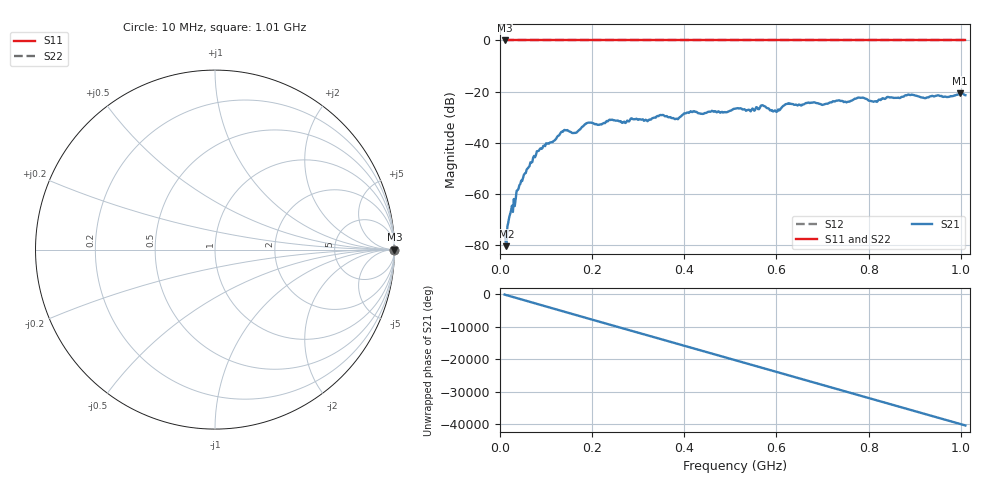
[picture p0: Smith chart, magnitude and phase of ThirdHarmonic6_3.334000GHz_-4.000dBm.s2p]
! 8/17/2025 10:28:45 AM
! C:\ANRITSUVNA\TEMP\TEMP.S2P
! CHANNEL.1
! TR.MEASUREMENT
! RAW.DATA
! RF.CORRECTION.OFF
! AVERAGING.OFF
! IF.BANDWIDTH: 5KHZ
! SWEEPTYPE:  FREQ.SWEEP(Linear)
! Reference Plane Port Info
! PORT:  PORT1  PORT2
! DISTANCE:  0  m  0  m
! TIME:  0  s  0  s
! PHASE.OFFSET:  0  deg.  0  deg.
! LOSS:  0  dB  0  dB
! REF.LOSS:  0  dB  0  dB
! REF.FREQ:  0  Hz  0  Hz
! Power Info
! POWER:  -20  dBm  -20  dBm
! EFF.POWER:  -20  dBm  -20  dBm
! SOURCE.ATTEN:  0  dB  0  dB
! TEST.ATTEN:  0  dB  0  dB
# GHZ S RI R 50.0
! FREQ.GHZ  S11RE  S11IM  S21RE  S21IM  S12RE  S12IM  S22RE  S22IM
!; PortSelection: Port_12
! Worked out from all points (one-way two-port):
!   501 points, 10 MHz to 1.01 GHz, reference 50 ohm
!   highest |S21| = -20.76 dB at 998 MHz (marker M1); lowest = -80.5 dB at 14 MHz (marker M2)
!   lowest |S11| = 0.0 dB at 10 MHz (marker M3)
!   |S11| at or under -10 dB: nowhere
!   |S22| runs from 0.0 to 0.0 dB; largest |S21 - S12| = 1.1
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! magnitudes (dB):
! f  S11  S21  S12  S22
! 10 MHz  0.0  -74.8  0.0  0.0
! 14 MHz  0.0  -80.5  0.0  0.0
! 22 MHz  0.0  -67.9  0.0  0.0
! 40 MHz  0.0  -58.1  0.0  0.0
! 84 MHz  0.0  -43.2  0.0  0.0
! 136 MHz  0.0  -35.8  0.0  0.0
! 162 MHz  0.0  -36.2  0.0  0.0
! 178 MHz  0.0  -33.8  0.0  0.0
! 192 MHz  0.0  -32.1  0.0  0.0
! 318 MHz  0.0  -31.2  0.0  0.0
! 344 MHz  0.0  -29.6  0.0  0.0
! 384 MHz  0.0  -30.6  0.0  0.0
! 416 MHz  0.0  -28.0  0.0  0.0
! 510 MHz  0.0  -26.7  0.0  0.0
! 570 MHz  0.0  -25.4  0.0  0.0
! 598 MHz  0.0  -27.5  0.0  0.0
! 622 MHz  0.0  -24.9  0.0  0.0
! 678 MHz  0.0  -24.3  0.0  0.0
! 814 MHz  0.0  -23.8  0.0  0.0
! 844 MHz  0.0  -22.2  0.0  0.0
! 998 MHz  0.0  -20.8  0.0  0.0
! 1.01 GHz  0.0  -21.4  0.0  0.0
